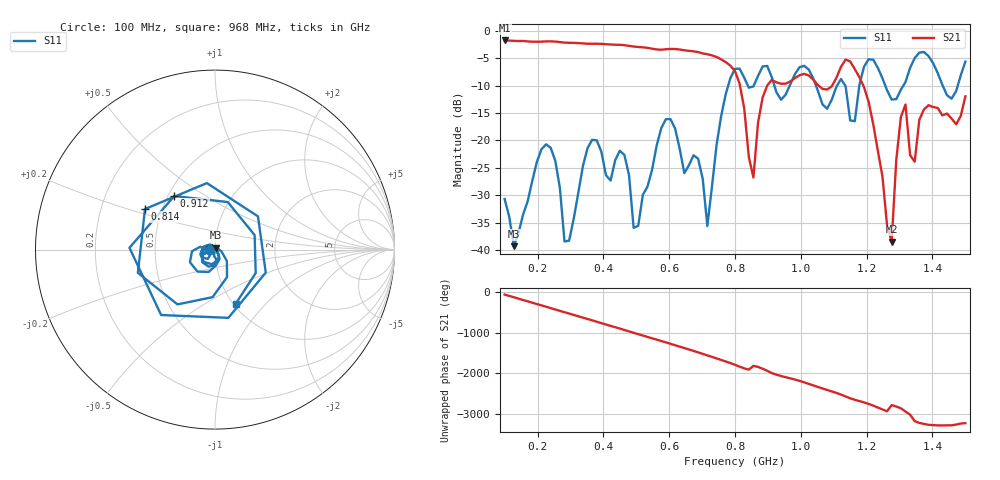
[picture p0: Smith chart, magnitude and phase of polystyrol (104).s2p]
! NanoVNA-App
! Date: 2025-09-26 09:42:41
! Start: 100MHz Stop: 1,5GHz Points: 101
! S-Parameter data: F S11 S21 S12 S22
# Hz S RI R 50
!  Frequency  S11_Real  S11_Imag  S21_Real  S21_Imag  S12_Real  S12_Imag  S22_Real  S22_Imag
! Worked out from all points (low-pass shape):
!   101 points, 100 MHz to 1.5 GHz, reference 50 ohm
!   highest |S21| = -1.79 dB at 100 MHz (marker M1); lowest = -38.4 dB at 1.276 GHz (marker M2)
!   |S21| within 3 dB of the highest: start of sweep to 743.6 MHz
!   lowest |S11| = -39.2 dB at 128 MHz (marker M3), VSWR 1.02, Z = 50.3 + j1.06 ohm
!   |S11| at or under -10 dB: start of sweep to 779.4 MHz; 1.046 GHz to 1.11 GHz (64.39 MHz wide, 5.97 % of centre); 1.257 GHz to 1.312 GHz (55.06 MHz wide, 4.29 % of centre) (the widest 3 of 7)
!   S12 and S22 are empty: the file has one direction only
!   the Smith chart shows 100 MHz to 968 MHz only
!   S11 on the Smith chart (normalised r, x): 100 MHz: 0.94, -0.01; 814 MHz: 0.40, +0.23; 912 MHz: 0.54, +0.37; 968 MHz: 1.02, -0.69
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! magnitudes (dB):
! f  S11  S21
! 100 MHz  -30.7  -1.8
! 128 MHz  -39.2  -1.9
! 212 MHz  -21.6  -2.0
! 254 MHz  -23.7  -2.0
! 282 MHz  -38.4  -2.2
! 338 MHz  -24.6  -2.3
! 464 MHz  -22.6  -2.6
! 506 MHz  -35.5  -3.0
! 576 MHz  -17.8  -3.5
! 688 MHz  -23.3  -3.9
! 716 MHz  -35.6  -4.3
! 800 MHz  -7.0  -7.4
! 814 MHz  -6.9  -9.7
! 856 MHz  -10.2  -26.7
! 912 MHz  -8.5  -9.0
! 968 MHz  -9.8  -9.3
! 1.038 GHz  -8.7  -8.9
! 1.178 GHz  -9.9  -8.5
! 1.276 GHz  -12.6  -38.4
! 1.318 GHz  -9.4  -13.5
! 1.346 GHz  -5.0  -23.9
! 1.5 GHz  -5.6  -12.0
